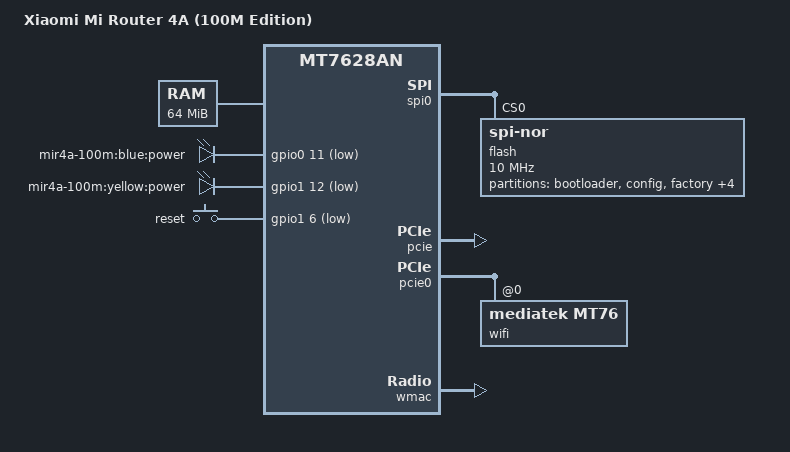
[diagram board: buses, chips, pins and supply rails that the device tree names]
//SPDX-License-Identifier: GPL-2.0-or-later OR MIT
/dts-v1/;

#include "mt7628an.dtsi"

#include <dt-bindings/gpio/gpio.h>
#include <dt-bindings/input/input.h>

/ {
	compatible = "xiaomi,mir4a-100m", "mediatek,mt7628an-soc";
	model = "Xiaomi Mi Router 4A (100M Edition)";

	chosen {
		bootargs = "console=ttyS0,115200";
	};

	memory@0 {
		device_type = "memory";
		reg = <0x0 0x4000000>;
	};

	aliases {
		led-boot = &power_yellow;
		led-failsafe = &power_yellow;
		led-running = &power_blue;
		led-upgrade = &power_yellow;
	};

	leds {
		compatible = "gpio-leds";

		power_blue: power_blue {
			label = "mir4a-100m:blue:power";
			gpios = <&gpio0 11 GPIO_ACTIVE_LOW>;
		};

		power_yellow: power_yellow {
			label = "mir4a-100m:yellow:power";
			gpios = <&gpio1 12 GPIO_ACTIVE_LOW>;
		};
	};

	keys {
		compatible = "gpio-keys-polled";
		poll-interval = <20>;

		reset {
			label = "reset";
			gpios = <&gpio1 6 GPIO_ACTIVE_LOW>;
			linux,code = <KEY_RESTART>;
		};
	};
};

&spi0 {
	status = "okay";

	flash@0 {
		compatible = "jedec,spi-nor";
		reg = <0>;
		spi-max-frequency = <10000000>;

		partitions {
			compatible = "fixed-partitions";
			#address-cells = <1>;
			#size-cells = <1>;

			partition@0 {
				label = "bootloader";
				reg = <0x0 0x20000>;
				read-only;
			};

			partition@20000 {
				label = "config";
				reg = <0x20000 0x10000>;
				read-only;
			};

			factory: partition@30000 {
				label = "factory";
				reg = <0x30000 0x10000>;
				read-only;
			};

			partition@40000 {
				label = "crash";
				reg = <0x40000 0x10000>;
				read-only;
			};

			partition@50000 {
				label = "cfg_bak";
				reg = <0x50000 0x10000>;
				read-only;
			};

			partition@60000 {
				label = "overlay";
				reg = <0x60000 0x100000>;
				read-only;
			};

			partition@160000 {
				label = "firmware";
				reg = <0x160000 0xea0000>;
				compatible = "denx,uimage";
			};
		};
	};
};

&pcie {
	status = "okay";
};

&pcie0 {
	wifi@0,0 {
		compatible = "mediatek,mt76";
		reg = <0x0000 0 0 0 0>;
		mediatek,mtd-eeprom = <&factory 0x8000>;
		ieee80211-freq-limit = <5000000 6000000>;
	};
};

&pinctrl {
	state_default: pinctrl0 {
		gpio {
			ralink,group = "gpio", "wdt", "wled_an";
			ralink,function = "gpio";
		};
	};
};

&ethernet {
	mtd-mac-address = <&factory 0x4>;
	mtd-mac-address-increment = <(-1)>;
};

&esw {
	mediatek,portmap = <0x2f>;
	mediatek,portdisable = <0x2a>;
};

&wmac {
	status = "okay";
};
